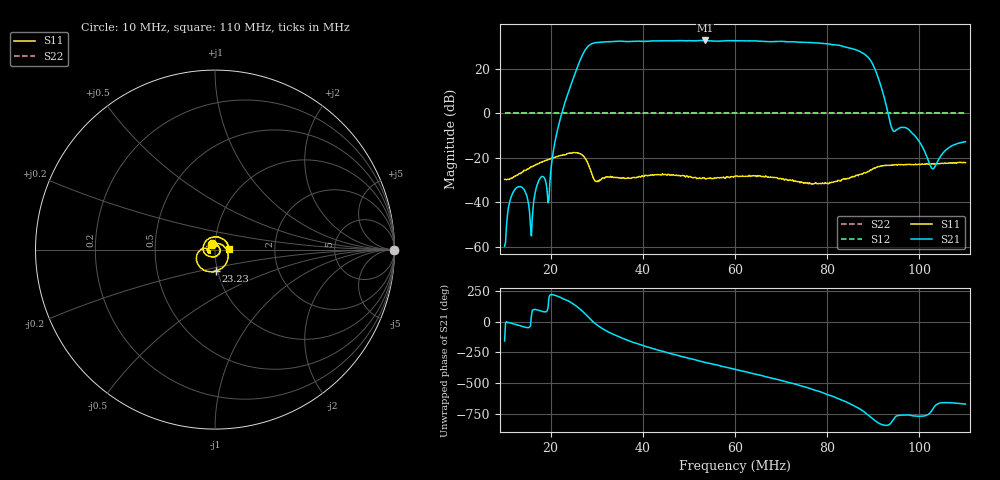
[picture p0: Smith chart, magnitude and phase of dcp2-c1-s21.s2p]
! Anritsu VNA Master:  Model: MS2034B/10/19/501
! SN:  1337062
! /bd0/ovro-jan-2016/dcp2-c1-s21.s2p
! Existing Calibration Information:
! TYPE:  Current Settings,  Active Cal Settings
! TIME:  01/12/2016 06:17:13 PM,  01/12/2016 05:57:47 PM
! INTERNAL TEMP:  44.3 C,  46.0 C
! # POINTS:  500,  500
! START FREQ:  10.000 MHz,  10.000 MHz
! STOP FREQ:  110.000 MHz,  110.000 MHz
! SOURCE POWER:  Low,  Low
! IFBW:  100 Hz,  1 kHz
! AVG FACTOR:  3 ,  3
! REF PLANE 1:  0 mm,  0 mm
! REF PLANE 2:  0 mm,  0 mm
! CAL TYPE:  1P2P S11,S21,  1P2P S11,S21
! CAL METHOD:  SOLT,  SOLT
! CAL LINE TYPE:  Coax,  Coax
! DUT PORT 1:  K-Conn(M),  K-Conn(M)
! DUT PORT 2:  N-Conn(M),  N-Conn(M)
! CAL STATUS:  OK: Accuracy High,  --
# GHZ S DB R 50.0
! FREQ.GHZ  S11DB  S11A  S21DB  S21A  S12DB  S12A  S22DB  S22A
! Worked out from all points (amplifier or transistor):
!   500 points, 10 MHz to 110 MHz, reference 50 ohm
!   highest |S21| = 32.6 dB at 53.49 MHz (marker M1)
!   |S21| within 3 dB of that: 27.95 MHz to 84.03 MHz (56.08 MHz wide, 100 % of centre)
!   unconditionally stable (mu >= 1): nowhere
!   at 26.63 MHz: K = 8.85, MSG = 12.5 dB, |S12| = 0.0 dB
!   at 60.1 MHz: K = 21.13, MSG = 16.3 dB, |S12| = 0.0 dB
!   at 110 MHz: K = 0.06, MSG = -6.4 dB, |S12| = 0.0 dB
!   S11 on the Smith chart (normalised r, x): 10 MHz: 0.97, +0.06; 23.23 MHz: 0.98, -0.23; 110 MHz: 1.17, +0.01
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0.01  -29.73 117.1  -59.68 -157.0  0.00 0.0  0.00 0.0
0.02322645  -18.64 -87.7  5.59 179.1  0.00 0.0  0.00 0.0
0.02683367  -18.79 -154.8  25.84 87.7  0.00 0.0  0.00 0.0
0.02803607  -22.30 177.8  29.82 41.9  0.00 0.0  0.00 0.0
0.02943888  -29.69 -175.7  31.48 -8.9  0.00 0.0  0.00 0.0
0.03124249  -29.07 -144.8  31.84 -56.5  0.00 0.0  0.00 0.0
0.03324649  -28.87 -150.3  32.08 -96.9  0.00 0.0  0.00 0.0
0.03805611  -28.86 -153.9  32.17 -170.2  0.00 0.0  0.00 0.0
0.04346693  -27.58 -166.2  32.38 126.3  0.00 0.0  0.00 0.0
0.04827655  -28.18 173.8  32.52 77.5  0.00 0.0  0.00 0.0
0.05348697  -29.34 165.8  32.59 28.1  0.00 0.0  0.00 0.0
0.0601002  -28.32 149.3  32.50 -29.1  0.00 0.0  0.00 0.0
0.06450902  -28.14 129.8  32.40 -68.3  0.00 0.0  0.00 0.0
0.06911824  -29.08 105.7  32.14 -109.5  0.00 0.0  0.00 0.0
0.07332665  -30.56 81.0  31.92 -151.2  0.00 0.0  0.00 0.0
0.07673347  -31.81 56.6  31.66 169.2  0.00 0.0  0.00 0.0
0.08214429  -30.71 -18.2  30.52 96.7  0.00 0.0  0.00 0.0
0.0861523  -27.99 -91.1  28.46 27.9  0.00 0.0  0.00 0.0
0.08915832  -25.94 -134.5  24.39 -49.1  0.00 0.0  0.00 0.0
0.09076152  -24.30 -159.0  17.67 -97.2  0.00 0.0  0.00 0.0
0.09336673  -23.38 162.7  -1.39 -121.4  0.00 0.0  0.00 0.0
0.11  -22.23 2.5  -12.85 48.4  0.00 0.0  0.00 0.0
